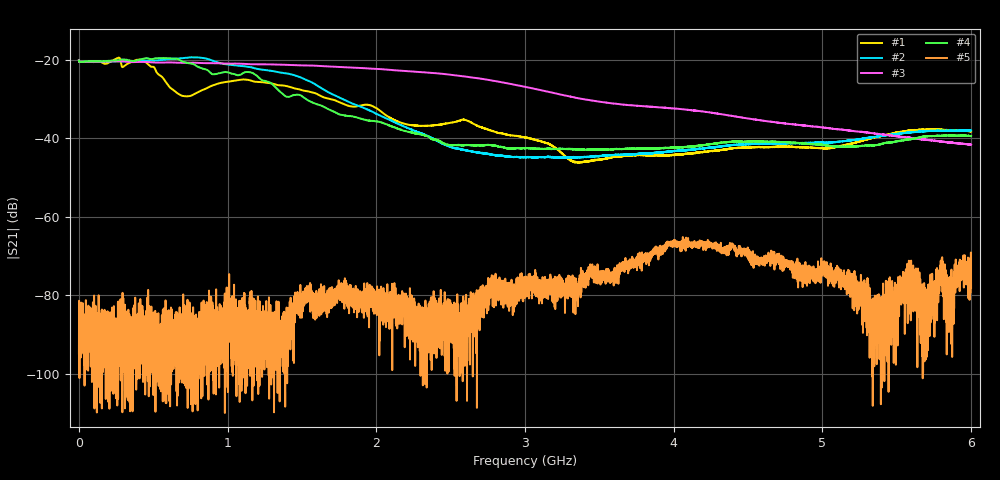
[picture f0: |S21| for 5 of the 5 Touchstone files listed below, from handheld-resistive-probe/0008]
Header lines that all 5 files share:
! Ref Plane: 0.000 mm
# MHZ S MA R  50
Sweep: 300 kHz to 6 GHz
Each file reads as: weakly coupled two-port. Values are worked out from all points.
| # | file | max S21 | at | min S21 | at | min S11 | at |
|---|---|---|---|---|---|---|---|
| 1 | flexground.s2p | -19.37 dB | 269.7 MHz | -46.2 dB | 3.363 GHz | -26.5 dB | 300 kHz |
| 2 | leafground.s2p | -19.28 dB | 768.9 MHz | -45.0 dB | 3.328 GHz | -26.4 dB | 300 kHz |
| 3 | tipground.s2p | -20.10 dB | 300 kHz | -41.6 dB | 5.989 GHz | -26.5 dB | 300 kHz |
| 4 | zground.s2p | -19.49 dB | 455.1 MHz | -42.9 dB | 3.42 GHz | -26.5 dB | 300 kHz |
| 5 | zin.s2p | -65.13 dB | 4.061 GHz | -110.0 dB | 981.9 MHz | -5.2 dB | 2.768 GHz |
